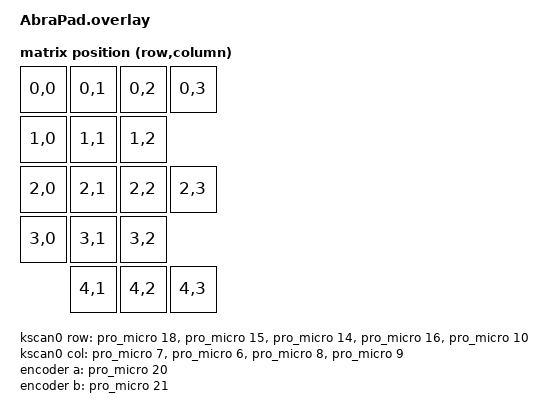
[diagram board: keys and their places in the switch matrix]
#include <dt-bindings/zmk/matrix_transform.h> // Put this with the other includes at the top of your overlay

/ {
    chosen {
        zmk,kscan = &kscan0;
        zmk,matrix-transform = &default_transform;
        zephyr,display = &oled;
    };

    default_transform: matrix_transform {
        compatible = "zmk,matrix-transform";
        columns = <4>; // Length of the "col-gpios" array
        rows = <5>; // Length of the "row-gpios" array
         // ┌───┬───┬───┬───┐
         // │NUM│ / │ * │ - │
         // ├───┼───┼───┼───┤
         // │ 7 │ 8 │ 9 │ + │
         // ├───┼───┼───┤   │
         // │ 4 │ 5 │ 6 │   │
         // ├───┼───┼───┼───┤
         // │ 1 │ 2 │ 3 │RET│
         // ├───┴───┼───┤   │
         // │ 0     │ . │   │
         // └───────┴───┴───┘
        map = <
            RC(0,0) RC(0,1) RC(0,2) RC(0,3)
            RC(1,0) RC(1,1) RC(1,2)
            RC(2,0) RC(2,1) RC(2,2) RC(2,3)
            RC(3,0) RC(3,1) RC(3,2)
                    RC(4,1) RC(4,2) RC(4,3)
        >;
    };

    kscan0: kscan0 {
        compatible = "zmk,kscan-gpio-matrix";
        diode-direction = "col2row"; //cathodes are connected to rows, check
        wakeup-source;

        col-gpios
            = <&pro_micro 7 GPIO_ACTIVE_HIGH>
            , <&pro_micro 6 GPIO_ACTIVE_HIGH>
            , <&pro_micro 8 GPIO_ACTIVE_HIGH>
            , <&pro_micro 9 GPIO_ACTIVE_HIGH>
            ;

        row-gpios
            = <&pro_micro 18 (GPIO_ACTIVE_HIGH | GPIO_PULL_DOWN)>
            , <&pro_micro 15 (GPIO_ACTIVE_HIGH | GPIO_PULL_DOWN)>
            , <&pro_micro 14 (GPIO_ACTIVE_HIGH | GPIO_PULL_DOWN)>
            , <&pro_micro 16 (GPIO_ACTIVE_HIGH | GPIO_PULL_DOWN)>
            , <&pro_micro 10 (GPIO_ACTIVE_HIGH | GPIO_PULL_DOWN)>
            ;
    };

    encoder: encoder {
        compatible = "alps,ec11";
        a-gpios = <&pro_micro 20 (GPIO_ACTIVE_HIGH | GPIO_PULL_UP)>;
        b-gpios = <&pro_micro 21 (GPIO_ACTIVE_HIGH | GPIO_PULL_UP)>;
        steps = <20>; //???
        status = "okay";
    };

    sensors: sensors {
        compatible = "zmk,keymap-sensors";
        sensors = <&encoder>;
        triggers-per-rotation = <20>;
    };
};

&pro_micro_i2c {
    status = "okay";

    oled: ssd1306@3c {
        compatible = "solomon,ssd1306fb";
        reg = <0x3c>;
        width = <128>;
        height = <32>;
        segment-offset = <0>;
        page-offset = <0>;
        display-offset = <0>;
        multiplex-ratio = <31>;
        segment-remap;
        com-invdir;
        com-sequential;
        inversion-on;
        prechargep = <0x22>;
    };
};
